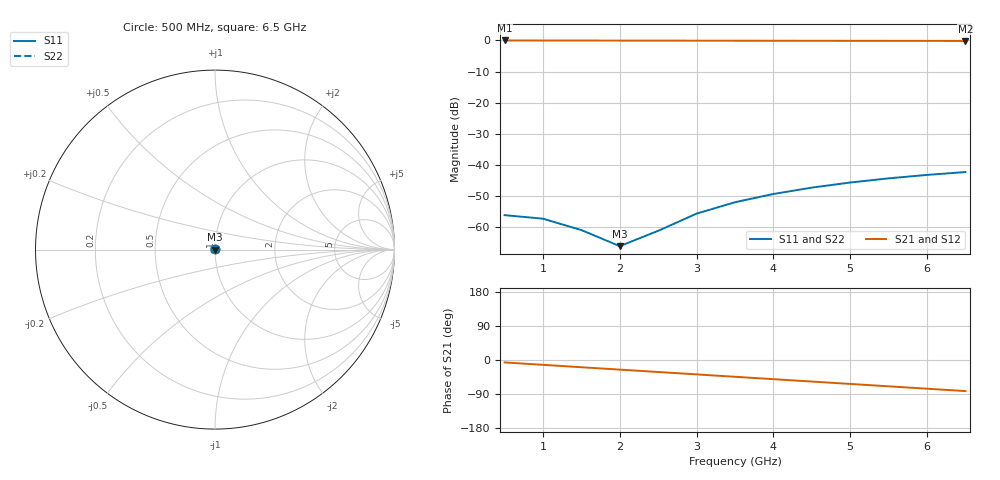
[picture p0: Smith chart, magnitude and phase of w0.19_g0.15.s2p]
! Sonnet Data File
! From: em Version : 19.54.2026
! From Project: w0.19_g0.15
! Data is De-embedded
! Data File Written: 11/09/2026 23:40:16
!< HDATE 11/09/2026 23:39:24
!< MDATE 11/09/2026 23:39:24
# GHZ S RI R 50.00000
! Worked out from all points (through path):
!   13 points, 500 MHz to 6.5 GHz, reference 50 ohm
!   highest |S21| = -0.03 dB at 500 MHz (marker M1); lowest = -0.2 dB at 6.5 GHz (marker M2)
!   group delay of S21, straight-line fit = 35 ps
!   lowest |S11| = -66.0 dB at 2 GHz (marker M3), VSWR 1.00, Z = 50 - j0.0386 ohm
!   |S11| at or under -10 dB: start of sweep to end of sweep
!   |S22| runs from -66.0 to -42.2 dB; largest |S21 - S12| = 3e-13
0.5  0.00126 0.000946  0.9907 -0.1113  0.9907 -0.1113  0.00126 0.000946
1  0.00125 0.000584  0.9705 -0.2195  0.9705 -0.2195  0.00125 0.000584
1.5  0.000903 8.88e-05  0.9388 -0.3244  0.9388 -0.3244  0.000903 8.88e-05
2  0.000319 -0.000386  0.896 -0.425  0.896 -0.425  0.000319 -0.000386
2.5  -0.000442 -0.000764  0.8426 -0.5201  0.8426 -0.5201  -0.000442 -0.000764
3  -0.00133 -0.001  0.7793 -0.6086  0.7793 -0.6086  -0.00133 -0.001
3.5  -0.0023 -0.00107  0.7068 -0.6895  0.7068 -0.6895  -0.0023 -0.00107
4  -0.0033 -0.000957  0.626 -0.7618  0.626 -0.7618  -0.0033 -0.000957
4.5  -0.0043 -0.000655  0.538 -0.8247  0.538 -0.8247  -0.0043 -0.000655
5  -0.00525 -0.000172  0.4438 -0.8775  0.4438 -0.8775  -0.00525 -0.000172
5.5  -0.0061 0.000479  0.3445 -0.9196  0.3445 -0.9196  -0.0061 0.000479
6  -0.00684 0.00128  0.2414 -0.9506  0.2414 -0.9506  -0.00684 0.00128
6.5  -0.00741 0.00219  0.1358 -0.97  0.1358 -0.97  -0.00741 0.00219
